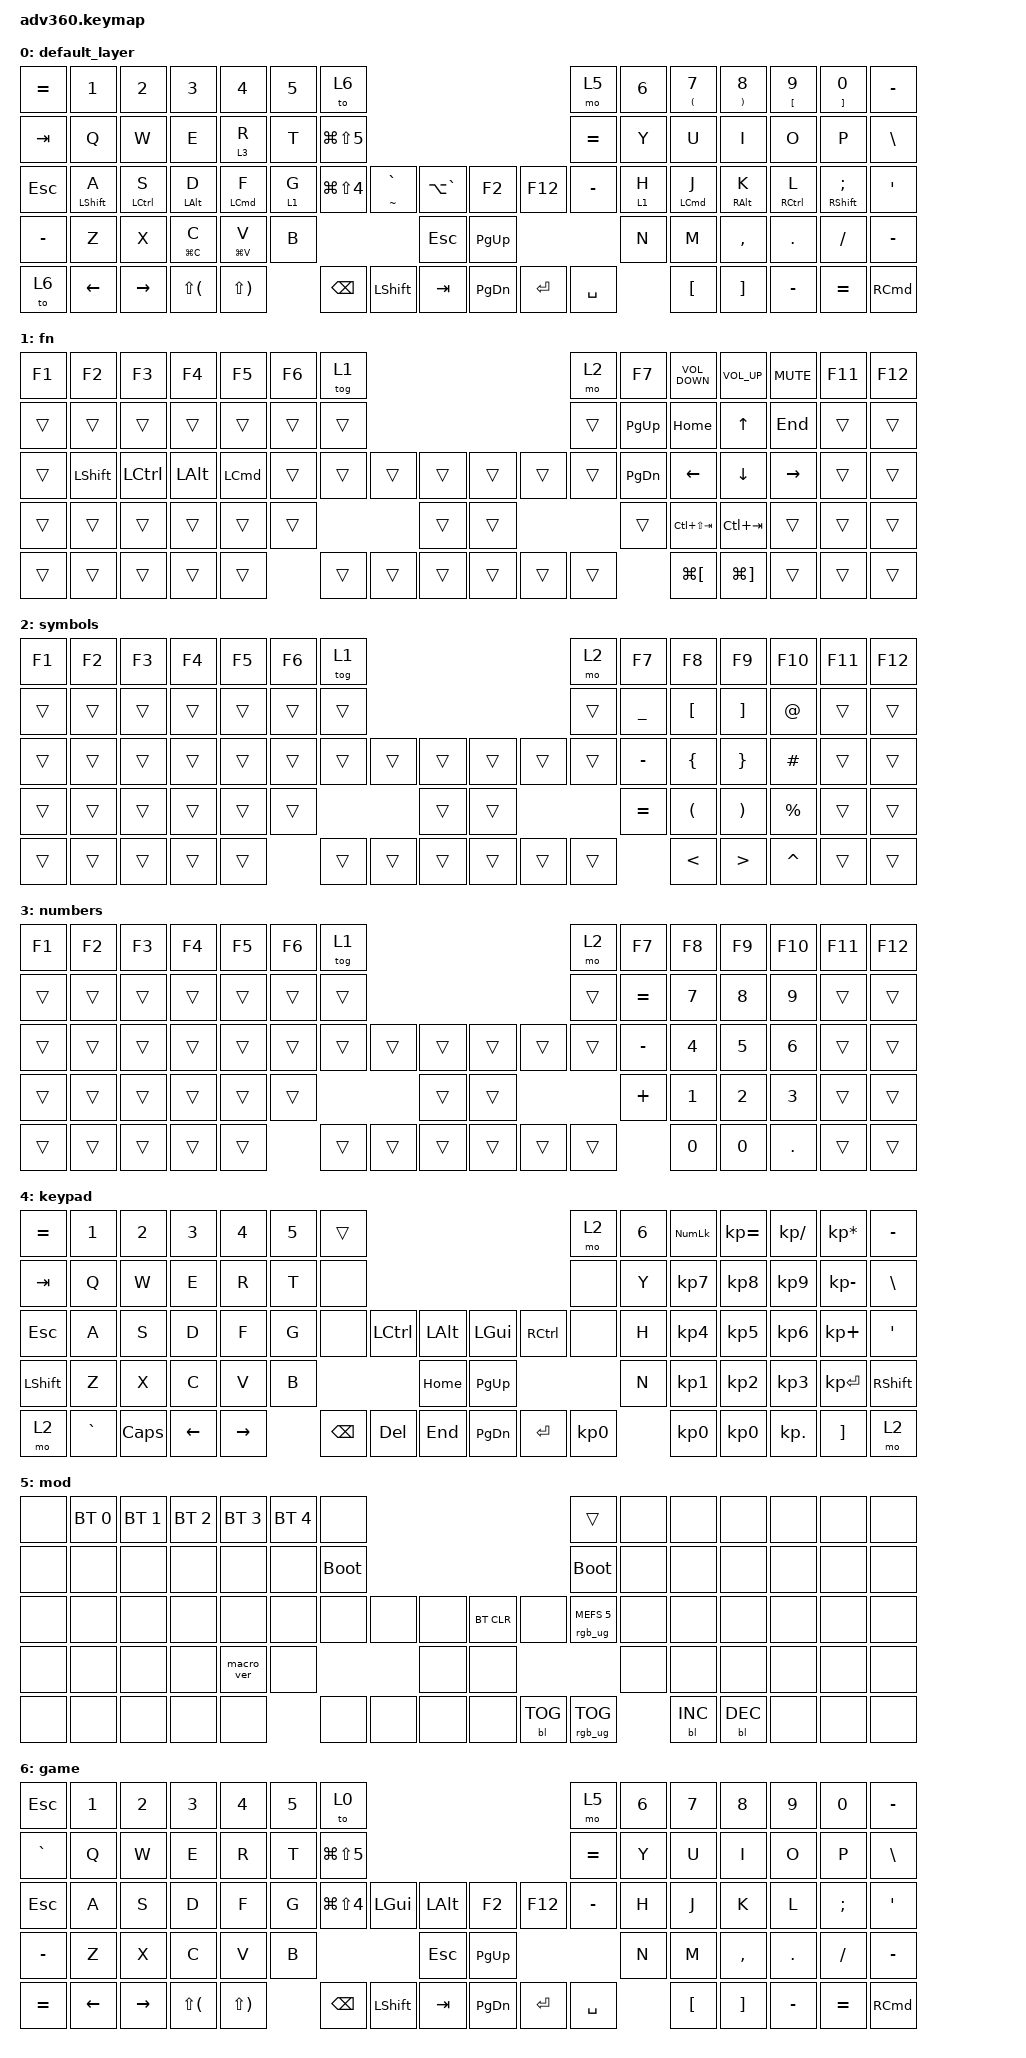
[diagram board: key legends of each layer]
#include <behaviors.dtsi>
#include <dt-bindings/zmk/backlight.h>
#include <dt-bindings/zmk/bt.h>
#include <dt-bindings/zmk/keys.h>
#include <dt-bindings/zmk/rgb.h>

/ {
    behaviors {
        #include "macros.dtsi"
      #include "version.dtsi"
      #ifndef VERSION_MACRO

        macro_ver: macro_ver {
            compatible = "zmk,behavior-macro";
            label = "macro_version";
            #binding-cells = <0>;
            bindings = <&kp RET>;
        };

        #endif

        hm: homerow_mods {
            compatible = "zmk,behavior-hold-tap";
            label = "HOMEROW_MODS";
            #binding-cells = <2>;
            tapping-term-ms = <170>;
            flavor = "tap-preferred";
            bindings = <&kp>, <&kp>;

            require-prior-idle-ms = <120>;
        };

        htlayer: htlayer {
            compatible = "zmk,behavior-hold-tap";
            label = "HTLAYER";
            bindings = <&mo>, <&kp>;

            #binding-cells = <2>;
            tapping-term-ms = <170>;
            flavor = "tap-preferred";
            require-prior-idle-ms = <120>;
        };
    };

    macros {
    };

    keymap {
        compatible = "zmk,keymap";

        default_layer {
            bindings = <
&kp EQUAL  &kp N1        &kp N2              &kp N3        &kp N4              &kp N5        &to 6                                                                               &mo 5      &kp N6        &mt LEFT_PARENTHESIS N7  &mt RIGHT_PARENTHESIS N8  &mt LEFT_BRACKET N9  &mt RIGHT_BRACKET N0  &kp MINUS
&kp TAB    &kp Q         &kp W               &kp E         &lt 3 R             &kp T         &kp LG(LS(NUMBER_5))                                                                &kp EQUAL  &kp Y         &kp U                    &kp I                     &kp O                &kp P                 &kp BSLH
&kp ESC    &hm LSHIFT A  &hm LEFT_CONTROL S  &hm LALT D    &hm LEFT_COMMAND F  &htlayer 1 G  &kp LG(LS(NUMBER_4))  &mt TILDE GRAVE  &kp LA(GRAVE)      &kp F2         &kp F12    &kp MINUS  &htlayer 1 H  &hm LCMD J               &hm RALT K                &hm RIGHT_CONTROL L  &hm RSHIFT SEMI       &kp SQT
&kp MINUS  &kp Z         &kp X               &hm LG(C) C   &hm LG(V) V         &kp B                                                &kp ESC            &kp PAGE_UP                          &kp N         &kp M                    &kp COMMA                 &kp DOT              &kp FSLH              &kp MINUS
&to 6      &kp LEFT      &kp RIGHT           &kp LS(LPAR)  &kp LS(RPAR)                      &kp BSPC              &kp LEFT_SHIFT   &kp TAB            &kp PAGE_DOWN  &kp ENTER  &kp SPACE                &kp LBKT                 &kp RBKT                  &kp MINUS            &kp EQUAL             &kp RCMD
            >;
        };

        fn {
            bindings = <
&kp F1  &kp F2      &kp F3     &kp F4    &kp F5    &kp F6  &tog 1                                      &mo 2   &kp F7         &kp C_VOLUME_DOWN     &kp C_VOLUME_UP        &kp K_MUTE  &kp F11  &kp F12
&trans  &trans      &trans     &trans    &trans    &trans  &trans                                      &trans  &kp PAGE_UP    &kp HOME              &kp UP                 &kp END     &trans   &trans
&trans  &kp LSHIFT  &kp LCTRL  &kp LALT  &kp LCMD  &trans  &trans  &trans  &trans      &trans  &trans  &trans  &kp PAGE_DOWN  &kp LEFT              &kp DOWN               &kp RIGHT   &trans   &trans
&trans  &trans      &trans     &trans    &trans    &trans                  &trans      &trans                  &trans         &kp LC(LS(TAB))       &kp LC(TAB)            &trans      &trans   &trans
&trans  &trans      &trans     &trans    &trans            &trans  &trans  &trans      &trans  &trans  &trans                 &kp LG(LEFT_BRACKET)  &kp LG(RIGHT_BRACKET)  &trans      &trans   &trans
            >;
        };

        symbols {
            bindings = <
&kp F1  &kp F2  &kp F3  &kp F4  &kp F5  &kp F6  &tog 1                                      &mo 2   &kp F7          &kp F8                &kp F9                 &kp F10      &kp F11  &kp F12
&trans  &trans  &trans  &trans  &trans  &trans  &trans                                      &trans  &kp UNDERSCORE  &kp LEFT_BRACKET      &kp RIGHT_BRACKET      &kp AT_SIGN  &trans   &trans
&trans  &trans  &trans  &trans  &trans  &trans  &trans  &trans  &trans      &trans  &trans  &trans  &kp MINUS       &kp LEFT_BRACE        &kp RIGHT_BRACE        &kp HASH     &trans   &trans
&trans  &trans  &trans  &trans  &trans  &trans                  &trans      &trans                  &kp EQUAL       &kp LEFT_PARENTHESIS  &kp RIGHT_PARENTHESIS  &kp PERCENT  &trans   &trans
&trans  &trans  &trans  &trans  &trans          &trans  &trans  &trans      &trans  &trans  &trans                  &kp LESS_THAN         &kp GREATER_THAN       &kp CARET    &trans   &trans
            >;
        };

        numbers {
            bindings = <
&kp F1  &kp F2  &kp F3  &kp F4  &kp F5  &kp F6  &tog 1                                      &mo 2   &kp F7     &kp F8  &kp F9  &kp F10  &kp F11  &kp F12
&trans  &trans  &trans  &trans  &trans  &trans  &trans                                      &trans  &kp EQUAL  &kp N7  &kp N8  &kp N9   &trans   &trans
&trans  &trans  &trans  &trans  &trans  &trans  &trans  &trans  &trans      &trans  &trans  &trans  &kp MINUS  &kp N4  &kp N5  &kp N6   &trans   &trans
&trans  &trans  &trans  &trans  &trans  &trans                  &trans      &trans                  &kp PLUS   &kp N1  &kp N2  &kp N3   &trans   &trans
&trans  &trans  &trans  &trans  &trans          &trans  &trans  &trans      &trans  &trans  &trans             &kp N0  &kp N0  &kp DOT  &trans   &trans
            >;
        };

        keypad {
            bindings = <
&kp EQUAL  &kp N1     &kp N2    &kp N3    &kp N4     &kp N5  &trans                                                   &mo 2      &kp N6  &kp KP_NUM       &kp KP_EQUAL     &kp KP_DIVIDE  &kp KP_MULTIPLY  &kp MINUS
&kp TAB    &kp Q      &kp W     &kp E     &kp R      &kp T   &none                                                    &none      &kp Y   &kp KP_N7        &kp KP_N8        &kp KP_N9      &kp KP_MINUS     &kp BSLH
&kp ESC    &kp A      &kp S     &kp D     &kp F      &kp G   &none     &kp LCTRL  &kp LALT      &kp LGUI   &kp RCTRL  &none      &kp H   &kp KP_N4        &kp KP_N5        &kp KP_N6      &kp KP_PLUS      &kp SQT
&kp LSHFT  &kp Z      &kp X     &kp C     &kp V      &kp B                        &kp HOME      &kp PG_UP                        &kp N   &kp KP_N1        &kp KP_N2        &kp KP_N3      &kp KP_ENTER     &kp RSHFT
&mo 2      &kp GRAVE  &kp CAPS  &kp LEFT  &kp RIGHT          &kp BSPC  &kp DEL    &kp END       &kp PG_DN  &kp ENTER  &kp KP_N0          &kp KP_NUMBER_0  &kp KP_NUMBER_0  &kp KP_DOT     &kp RBKT         &mo 2
            >;
        };

        mod {
            bindings = <
&none  &bt BT_SEL 0  &bt BT_SEL 1  &bt BT_SEL 2  &bt BT_SEL 3  &bt BT_SEL 4  &none                                                  &trans                  &none  &none       &none       &none  &none  &none
&none  &none         &none         &none         &none         &none         &bootloader                                            &bootloader             &none  &none       &none       &none  &none  &none
&none  &none         &none         &none         &none         &none         &none        &none  &none      &bt BT_CLR  &none       &rgb_ug RGB_MEFS_CMD 5  &none  &none       &none       &none  &none  &none
&none  &none         &none         &none         &macro_ver    &none                             &none      &none                                           &none  &none       &none       &none  &none  &none
&none  &none         &none         &none         &none                       &none        &none  &none      &none       &bl BL_TOG  &rgb_ug RGB_TOG                &bl BL_INC  &bl BL_DEC  &none  &none  &none
            >;
        };

        game {
            bindings = <
&kp ESC    &kp N1    &kp N2     &kp N3        &kp N4        &kp N5  &to 0                                                                    &mo 5      &kp N6  &kp N7    &kp N8     &kp N9     &kp N0     &kp MINUS
&kp GRAVE  &kp Q     &kp W      &kp E         &kp R         &kp T   &kp LG(LS(NUMBER_5))                                                     &kp EQUAL  &kp Y   &kp U     &kp I      &kp O      &kp P      &kp BSLH
&kp ESC    &kp A     &kp S      &kp D         &kp F         &kp G   &kp LG(LS(NUMBER_4))  &kp LGUI   &kp LALT      &kp F2         &kp F12    &kp MINUS  &kp H   &kp J     &kp K      &kp L      &kp SEMI   &kp SQT
&kp MINUS  &kp Z     &kp X      &kp C         &kp V         &kp B                                    &kp ESC       &kp PAGE_UP                          &kp N   &kp M     &kp COMMA  &kp DOT    &kp FSLH   &kp MINUS
&kp EQUAL  &kp LEFT  &kp RIGHT  &kp LS(LPAR)  &kp LS(RPAR)          &kp BSPC              &kp LSHFT  &kp TAB       &kp PAGE_DOWN  &kp ENTER  &kp SPACE          &kp LBKT  &kp RBKT   &kp MINUS  &kp EQUAL  &kp RCMD
            >;
        };
    };
};
